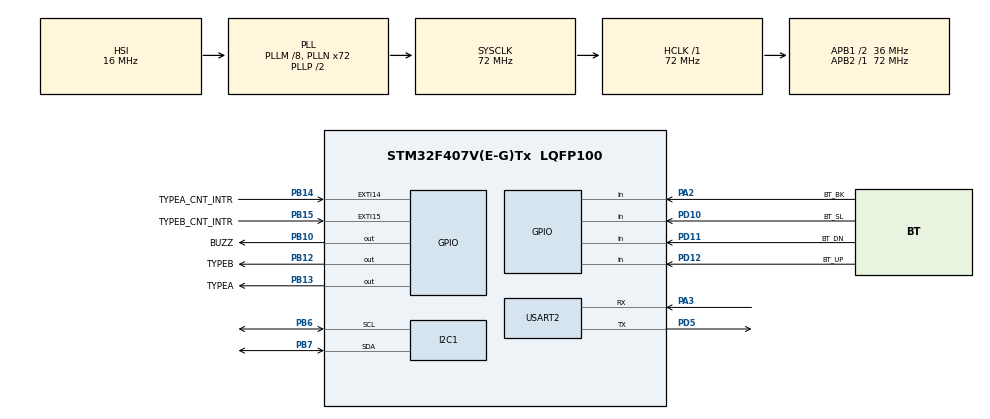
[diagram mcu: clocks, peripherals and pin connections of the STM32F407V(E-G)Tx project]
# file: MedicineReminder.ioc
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Mcu.Family=STM32F4
Mcu.Name=STM32F407V(E-G)Tx
Mcu.Package=LQFP100
NVIC.EXTI15_10_IRQn=true\:0\:0\:false\:false\:true\:true\:true\:true
NVIC.PriorityGroup=NVIC_PRIORITYGROUP_4
NVIC.USART2_IRQn=true\:0\:0\:false\:false\:true\:true\:true\:true
PA13.Mode=Serial_Wire
PA13.Signal=SYS_JTMS-SWDIO
PA14.Mode=Serial_Wire
PA14.Signal=SYS_JTCK-SWCLK
PA2.GPIO_Label=BT_BK
PA2.Signal=GPIO_Input
PA3.Mode=Asynchronous
PA3.Signal=USART2_RX
PB10.GPIO_Label=BUZZ
PB10.Signal=GPIO_Output
PB12.GPIO_Label=TYPEB
PB12.Signal=GPIO_Output
PB13.GPIO_Label=TYPEA
PB13.Signal=GPIO_Output
PB14.GPIO_Label=TYPEA_CNT_INTR
PB14.GPIO_ModeDefaultEXTI=GPIO_MODE_IT_FALLING
PB14.Signal=GPXTI14
PB15.GPIO_Label=TYPEB_CNT_INTR
PB15.GPIO_ModeDefaultEXTI=GPIO_MODE_IT_FALLING
PB15.Signal=GPXTI15
PB6.Mode=I2C
PB6.Signal=I2C1_SCL
PB7.Mode=I2C
PB7.Signal=I2C1_SDA
PD10.GPIO_Label=BT_SL
PD10.GPIO_PuPd=GPIO_PULLUP
PD10.Signal=GPIO_Input
PD11.GPIO_Label=BT_DN
PD11.GPIO_PuPd=GPIO_PULLUP
PD11.Signal=GPIO_Input
PD12.GPIO_Label=BT_UP
PD12.GPIO_PuPd=GPIO_PULLUP
PD12.Signal=GPIO_Input
PD5.Mode=Asynchronous
PD5.Signal=USART2_TX
ProjectManager.HeapSize=0x200
ProjectManager.StackSize=0x400
ProjectManager.TargetToolchain=STM32CubeIDE
RCC.48MHZClocksFreq_Value=36000000
RCC.AHBFreq_Value=72000000
RCC.APB1CLKDivider=RCC_HCLK_DIV2
RCC.APB1Freq_Value=36000000
RCC.APB1TimFreq_Value=72000000
RCC.APB2Freq_Value=72000000
RCC.APB2TimFreq_Value=72000000
RCC.CortexFreq_Value=72000000
RCC.HCLKFreq_Value=72000000
RCC.HSE_VALUE=8000000
RCC.HSI_VALUE=16000000
RCC.LSE_VALUE=32768
RCC.PLLM=8
RCC.PLLN=72
RCC.SYSCLKFreq_VALUE=72000000
RCC.SYSCLKSource=RCC_SYSCLKSOURCE_PLLCLK
RCC.VCOOutputFreq_Value=144000000
USART2.VirtualMode=VM_ASYNC
board=custom

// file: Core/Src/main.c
/* USER CODE BEGIN Header */
/**
  ******************************************************************************
  * @file           : main.c
  * @brief          : 主程序入口（基于 v48 完善版本）
  ******************************************************************************
  * @attention
  *
  * 版权所有 (c) 2024 STMicroelectronics。
  * 保留所有权利。
  *
  * 本软件根据 LICENSE 文件中的许可条款分发，
  * 若无 LICENSE 文件，则按“原样”提供。
  *
  ******************************************************************************
  */
/* USER CODE END Header */
#include "main.h"

/* USER CODE BEGIN Includes */
#include "dfplayer.h"
#include "bluetooth.h"
/* USER CODE END Includes */

/* USER CODE BEGIN PTD */
/* 无 */
/* USER CODE END PTD */

/* USER CODE BEGIN PD */
/* 用户私有定义，可在此添加所需的宏或常量 */
#define TIME_UNIT 100
#define SENSOR_TIMEOUT 1000      // 添加SENSOR_TIMEOUT定义，根据实际需要设置值
#define SENSOR_TIMEOUT_DISP 1000  // 根据实际需要定义的值
#define COMMAND_BUFFER_SIZE 256   // 修改1: 定义 COMMAND_BUFFER_SIZE 为256
/* USER CODE END PD */

/* USER CODE BEGIN PM */
/* 用户私有宏定义 */
/* USER CODE END PM */

I2C_HandleTypeDef hi2c1;

UART_HandleTypeDef huart2;

/* USER CODE BEGIN PV */
/* 用户私有变量 */
/* 外部变量引用 */
extern uint8_t cur_screen, need_update_menu;
extern uint8_t is_next_day;
extern int upcoming_schedule_pos;
extern SCHEDULE schedule_list[10];
extern uint8_t content[10][21];
extern RTC_Time c_time;
extern int upcoming_time;
/* 内部计数及状态变量 */
int time_update_cnt = 0;
int medicine_notify = 0, medicine_notify_cnt = 0;
int type_a_cnt = 0, type_b_cnt = 0;
unsigned long last_interrupt_cnt_a = 0, last_interrupt_cnt_b = 0;
int sensor_tmout = 0, sensor_tmout_cnt = 0, sensor_tmout_cnt2 = 0;
int upcoming_delay = 0;
uint8_t rx_data[2];
uint8_t command_buffer[COMMAND_BUFFER_SIZE], command_buffer_cnt = 0; // 修改2: 初始化 command_buffer_cnt 为 0
/* USER CODE END PV */

void SystemClock_Config(void);
static void MX_GPIO_Init(void);
static void MX_I2C1_Init(void);
static void MX_USART2_UART_Init(void);
/* USER CODE BEGIN PFP */
/* 私有函数原型声明 */
void time_update(void);
void stepper_control(void);
void process_command(void);
void HAL_GPIO_EXTI_Callback(uint16_t GPIO_Pin);
void HAL_UART_RxCpltCallback(UART_HandleTypeDef *huart);
/* USER CODE END PFP */

/* USER CODE BEGIN 0 */
/* 此处可以添加其他全局初始化代码 */
/* USER CODE END 0 */

int main(void)
{
  /* USER CODE BEGIN 1 */
  /* 用户初始化代码 */
  /* USER CODE END 1 */

  /* MCU Configuration--------------------------------------------------------*/

  /* Reset of all peripherals, Initializes the Flash interface and the Systick. */
  HAL_Init();

  /* USER CODE BEGIN Init */
  /* 用户初始化代码 */
  /* USER CODE END Init */

  /* Configure the system clock */
  SystemClock_Config();

  /* USER CODE BEGIN SysInit */
  /* 用户系统级初始化 */
  /* USER CODE END SysInit */

  /* Initialize all configured peripherals */
  MX_GPIO_Init();
  MX_I2C1_Init();
  MX_USART2_UART_Init();
  /* USER CODE BEGIN 2 */

  /* 初始化重要IO口状态 */
  HAL_GPIO_WritePin(TYPEA_GPIO_Port, TYPEA_Pin, GPIO_PIN_RESET);
  HAL_GPIO_WritePin(TYPEB_GPIO_Port, TYPEB_Pin, GPIO_PIN_RESET);
  HAL_Delay(500);     // I2C初始化延时

  /* 初始化 DS3231 实时时钟 */
  DS3231_Init(&hi2c1);
#if !RTC_EMUL
  // 若RTC年份不正确则进行更新
  if (DS3231_GetYear() != 24) {
      DS3231_SetYear(24);
  }
#endif

  /* 初始化 LCD 显示模块 */
  lcd_init();
  lcd_clear_display();
  lcd_gotoxy(1, 1);
  lcd_send_string("Initialize...");

  /* 装载计划列表 */
  load_schedule();
  upcoming_time = 999999;

  /* 设置并刷新菜单显示 */
  menu_set_content();
  menu_update();

  /* 启动 UART 中断接收 */
  HAL_UART_Receive_IT(&huart2, rx_data, 1);

  HAL_Delay(1000);

  /* 初始化 DFPlayer 语音模块 */
  DFPlayer_Init();

  /* 初始化蓝牙模块 */
  Bluetooth_Init();

  /* USER CODE END 2 */

  /* Infinite loop */
  /* USER CODE BEGIN WHILE */
  while (1)
  {
      /* 按键检测及刷新菜单 */
      check_button();
      menu_update();
      /* 更新时间显示及调度 */
      time_update();
      /* 控制步进电机进行提醒操作 */
      stepper_control();

      /* 延时，单位为TIME_UNIT */
      HAL_Delay(TIME_UNIT);
  }
    /* USER CODE END WHILE */

}

void SystemClock_Config(void)
{
  RCC_OscInitTypeDef RCC_OscInitStruct = {0};
  RCC_ClkInitTypeDef RCC_ClkInitStruct = {0};

  /** Configure the main internal regulator output voltage
  */
  __HAL_RCC_PWR_CLK_ENABLE();
  __HAL_PWR_VOLTAGESCALING_CONFIG(PWR_REGULATOR_VOLTAGE_SCALE1);

  /** Initializes the RCC Oscillators according to the specified parameters
  * in the RCC_OscInitTypeDef structure.
  */
  RCC_OscInitStruct.OscillatorType = RCC_OSCILLATORTYPE_HSI;
  RCC_OscInitStruct.HSIState = RCC_HSI_ON;
  RCC_OscInitStruct.HSICalibrationValue = RCC_HSICALIBRATION_DEFAULT;
  RCC_OscInitStruct.PLL.PLLState = RCC_PLL_ON;
  RCC_OscInitStruct.PLL.PLLSource = RCC_PLLSOURCE_HSI;
  RCC_OscInitStruct.PLL.PLLM = 8;
  RCC_OscInitStruct.PLL.PLLN = 72;
  RCC_OscInitStruct.PLL.PLLP = RCC_PLLP_DIV2;
  RCC_OscInitStruct.PLL.PLLQ = 4;
  if (HAL_RCC_OscConfig(&RCC_OscInitStruct) != HAL_OK)
  {
    Error_Handler();
  }

  /** Initializes the CPU, AHB and APB buses clocks
  */
  RCC_ClkInitStruct.ClockType = RCC_CLOCKTYPE_HCLK|RCC_CLOCKTYPE_SYSCLK
                              |RCC_CLOCKTYPE_PCLK1|RCC_CLOCKTYPE_PCLK2;
  RCC_ClkInitStruct.SYSCLKSource = RCC_SYSCLKSOURCE_PLLCLK;
  RCC_ClkInitStruct.AHBCLKDivider = RCC_SYSCLK_DIV1;
  RCC_ClkInitStruct.APB1CLKDivider = RCC_HCLK_DIV2;
  RCC_ClkInitStruct.APB2CLKDivider = RCC_HCLK_DIV1;

  if (HAL_RCC_ClockConfig(&RCC_ClkInitStruct, FLASH_LATENCY_2) != HAL_OK)
  {
    Error_Handler();
  }
}

static void MX_I2C1_Init(void)
{

  /* USER CODE BEGIN I2C1_Init 0 */
  /* 用户代码 I2C1 初始化前置代码 */
  /* USER CODE END I2C1_Init 0 */

  /* USER CODE BEGIN I2C1_Init 1 */
  /* 用户代码 I2C1 初始化预处理 */
  /* USER CODE END I2C1_Init 1 */
  hi2c1.Instance = I2C1;
  hi2c1.Init.ClockSpeed = 100000;
  hi2c1.Init.DutyCycle = I2C_DUTYCYCLE_2;
  hi2c1.Init.OwnAddress1 = 0;
  hi2c1.Init.AddressingMode = I2C_ADDRESSINGMODE_7BIT;
  hi2c1.Init.DualAddressMode = I2C_DUALADDRESS_DISABLE;
  hi2c1.Init.OwnAddress2 = 0;
  hi2c1.Init.GeneralCallMode = I2C_GENERALCALL_DISABLE;
  hi2c1.Init.NoStretchMode = I2C_NOSTRETCH_DISABLE;
  if (HAL_I2C_Init(&hi2c1) != HAL_OK)
  {
    Error_Handler();
  }
  /* USER CODE BEGIN I2C1_Init 2 */
  /* 用户代码 I2C1 初始化后处理 */
  /* USER CODE END I2C1_Init 2 */

}

static void MX_USART2_UART_Init(void)
{

  /* USER CODE BEGIN USART2_Init 0 */
  /* 用户代码 USART2 初始化前置 */
  /* USER CODE END USART2_Init 0 */

  /* USER CODE BEGIN USART2_Init 1 */
  /* 用户代码 USART2 初始化预处理 */
  /* USER CODE END USART2_Init 1 */
  huart2.Instance = USART2;
  huart2.Init.BaudRate = 115200;
  huart2.Init.WordLength = UART_WORDLENGTH_8B;
  huart2.Init.StopBits = UART_STOPBITS_1;
  huart2.Init.Parity = UART_PARITY_NONE;
  huart2.Init.Mode = UART_MODE_TX_RX;
  huart2.Init.HwFlowCtl = UART_HWCONTROL_NONE;
  huart2.Init.OverSampling = UART_OVERSAMPLING_16;
  if (HAL_UART_Init(&huart2) != HAL_OK)
  {
    Error_Handler();
  }
  /* USER CODE BEGIN USART2_Init 2 */
  /* 用户代码 USART2 初始化后处理 */
  /* USER CODE END USART2_Init 2 */

}

static void MX_GPIO_Init(void)
{
  GPIO_InitTypeDef GPIO_InitStruct = {0};
/* USER CODE BEGIN MX_GPIO_Init_1 */
  /* 用户代码 GPIO 初始化前置 */
/* USER CODE END MX_GPIO_Init_1 */

  /* GPIO Ports Clock Enable */
  __HAL_RCC_GPIOA_CLK_ENABLE();
  __HAL_RCC_GPIOB_CLK_ENABLE();
  __HAL_RCC_GPIOD_CLK_ENABLE();

  /*Configure GPIO pin Output Level */
  HAL_GPIO_WritePin(GPIOB, BUZZ_Pin|TYPEB_Pin|TYPEA_Pin, GPIO_PIN_RESET);

  /*Configure GPIO pin : BT_BK_Pin */
  GPIO_InitStruct.Pin = BT_BK_Pin;
  GPIO_InitStruct.Mode = GPIO_MODE_INPUT;
  GPIO_InitStruct.Pull = GPIO_NOPULL;
  HAL_GPIO_Init(BT_BK_GPIO_Port, &GPIO_InitStruct);

  /*Configure GPIO pins : BUZZ_Pin TYPEB_Pin TYPEA_Pin */
  GPIO_InitStruct.Pin = BUZZ_Pin|TYPEB_Pin|TYPEA_Pin;
  GPIO_InitStruct.Mode = GPIO_MODE_OUTPUT_PP;
  GPIO_InitStruct.Pull = GPIO_NOPULL;
  GPIO_InitStruct.Speed = GPIO_SPEED_FREQ_LOW;
  HAL_GPIO_Init(GPIOB, &GPIO_InitStruct);

  /*Configure GPIO pins : TYPEA_CNT_INTR_Pin TYPEB_CNT_INTR_Pin */
  GPIO_InitStruct.Pin = TYPEA_CNT_INTR_Pin|TYPEB_CNT_INTR_Pin;
  GPIO_InitStruct.Mode = GPIO_MODE_IT_FALLING;
  GPIO_InitStruct.Pull = GPIO_NOPULL;
  HAL_GPIO_Init(GPIOB, &GPIO_InitStruct);

  /*Configure GPIO pins : BT_SL_Pin BT_DN_Pin BT_UP_Pin */
  GPIO_InitStruct.Pin = BT_SL_Pin|BT_DN_Pin|BT_UP_Pin;
  GPIO_InitStruct.Mode = GPIO_MODE_INPUT;
  GPIO_InitStruct.Pull = GPIO_PULLUP;
  HAL_GPIO_Init(GPIOD, &GPIO_InitStruct);

  /* EXTI interrupt init*/
  HAL_NVIC_SetPriority(EXTI15_10_IRQn, 0, 0);
  HAL_NVIC_EnableIRQ(EXTI15_10_IRQn);

/* USER CODE BEGIN MX_GPIO_Init_2 */
  /* 用户代码 GPIO 初始化后处理 */
/* USER CODE END MX_GPIO_Init_2 */
}

/* USER CODE BEGIN 4 */

/**
  * @brief  更新时间函数，1秒更新一次
  */
void time_update(void)
{
    time_update_cnt++;
    HAL_GPIO_WritePin(BUZZ_GPIO_Port, BUZZ_Pin, (medicine_notify ? GPIO_PIN_SET : GPIO_PIN_RESET));
    if (time_update_cnt == 1000 / TIME_UNIT)   // 1秒标识
    {
        time_update_cnt = 0;
#if RTC_EMUL
        c_time.seconds++;
        if(c_time.seconds == 60) {
            c_time.seconds = 0;
            c_time.minutes++;
            if(c_time.minutes == 60) {
                c_time.minutes = 0;
                c_time.hours++;
                if(c_time.hours == 24) {
                    c_time.hours = 0;
                }
            }
        }
#else
        DS3231_GetFullDateTime(&c_time);
#endif
        /* 处理传感器超时计数 */
        if(sensor_tmout_cnt != 0)
        {
            sensor_tmout_cnt--;
            if(sensor_tmout_cnt == 0)
            {
                if(sensor_tmout != 0)
                {
                    sensor_tmout_cnt2 = SENSOR_TIMEOUT_DISP;
                    medicine_notify = 0;
                    medicine_notify_cnt = 0;
                    /* 修改4: 确保 type_a_cnt 与 type_b_cnt 已在变量声明时初始化 */
                    type_a_cnt = 0;
                    type_b_cnt = 0;
                    HAL_GPIO_WritePin(TYPEA_GPIO_Port, TYPEA_Pin, GPIO_PIN_RESET);
                    HAL_GPIO_WritePin(TYPEB_GPIO_Port, TYPEB_Pin, GPIO_PIN_RESET);
                }
            }
        }
        if(sensor_tmout_cnt2 != 0)
        {
            sensor_tmout_cnt2--;  // 修改5: sensor_tmout_cnt2 已初始化，无需特殊处理
        }
        /* 处理提醒计数 */
        if(medicine_notify_cnt != 0)
        {
            medicine_notify_cnt--;
            if(medicine_notify_cnt == 0)
            {
                medicine_notify = 0;
            }
        }
        /* 更新即将触发的计划延时 */
        if(upcoming_delay != 0)
        {
            upcoming_delay--;
            if(upcoming_delay == 0)
            {
                update_upcoming_to_esp(current_schedule);
            }
        }
        /* 判断是否该触发语音提醒 */
        if (medicine_notify == 0)
        {
            if (c_time.hours == upcoming_time / 60 && c_time.minutes == upcoming_time % 60)
            {
                medicine_notify = 1;
                type_a_cnt = schedule_list[upcoming_schedule_pos].type_a;
                type_b_cnt = schedule_list[upcoming_schedule_pos].type_b;
                /* 置位传感器超时标识：bit0 - 类型A, bit1 - 类型B */
                sensor_tmout = 0x03;
                sensor_tmout_cnt = SENSOR_TIMEOUT;
                sensor_tmout_cnt2 = 0;

                /* 更新当前计划，并从计划列表中移除该计划 */
                current_schedule = schedule_list[upcoming_schedule_pos];
                upcoming_delay = 3;
                schedule_remove(upcoming_schedule_pos);
                upcoming_time = 999999;
                upcoming_schedule_pos = -1;
                store_schedule();
                update_schedulelist_to_esp();

                /* 修改6: 调用 DFPlayer 播放语音文件函数，应确保该函数已正确定义 */
                DFPlayer_Play(1);
            }
        }
        /* 若已错过触发时间，查找下一个计划 */
        if ((convert_to_minute(c_time.hours, c_time.minutes) - upcoming_time >= 1 && is_next_day == 0)
                || (upcoming_time == 999999))
        {
            find_upcoming_schedule();
        }
        /* 刷新菜单内容 */
        menu_set_content();
    }
}

/**
  * @brief  控制步进电机进行语音提示效果
  */
void stepper_control(void)
{
    if(type_a_cnt > 0)
    {
        HAL_GPIO_TogglePin(TYPEA_GPIO_Port, TYPEA_Pin);
    }
    if(type_b_cnt > 0)
    {
        HAL_GPIO_TogglePin(TYPEB_GPIO_Port, TYPEB_Pin);
    }
}

/**
  * @brief  外部中断回调函数
  * @param  GPIO_Pin：中断触发的引脚编号
  */
void HAL_GPIO_EXTI_Callback(uint16_t GPIO_Pin)
{
    unsigned long interrupt_time = HAL_GetTick();

    if(GPIO_Pin == GPIO_PIN_14)   // 类型A外部中断
    {
        if((interrupt_time - last_interrupt_cnt_a > 200) && (type_a_cnt > 0))
        {
            type_a_cnt--;
            sensor_tmout &= ~0x01;  // 清除类型A超时标志
            if(type_a_cnt == 0)
            {
                HAL_GPIO_WritePin(TYPEA_GPIO_Port, TYPEA_Pin, GPIO_PIN_RESET);
                if(type_b_cnt == 0)
                {
                    medicine_notify_cnt = 120;  // 2分钟计数
                }
            }
        }
        last_interrupt_cnt_a = interrupt_time;
    }
    else if(GPIO_Pin == GPIO_PIN_15)  // 类型B外部中断
    {
        if((interrupt_time - last_interrupt_cnt_b > 200) && (type_b_cnt > 0))
        {
            type_b_cnt--;
            sensor_tmout &= ~0x02;  // 清除类型B超时标志
            if(type_b_cnt == 0)
            {
                HAL_GPIO_WritePin(TYPEB_GPIO_Port, TYPEB_Pin, GPIO_PIN_RESET);
                if(type_a_cnt == 0)
                {
                    medicine_notify_cnt = 120;  // 2分钟计数
                }
            }
        }
        last_interrupt_cnt_b = interrupt_time;
    }
}

/**
  * @brief  UART 接收中断回调函数
  * @param  huart：接收中断的 UART 句柄
  */
void HAL_UART_RxCpltCallback(UART_HandleTypeDef *huart)
{
    if(huart->Instance == USART2)
    {
        // 接收到的数据存入命令缓冲区
        command_buffer[command_buffer_cnt] = rx_data[0];
        command_buffer_cnt++;
        if(command_buffer_cnt >= COMMAND_BUFFER_SIZE)
        {
            command_buffer_cnt = 0;
        }
        /* 处理接收到的指令 */
        process_command();
        /* 重新启动 UART 接收中断 */
        HAL_UART_Receive_IT(&huart2, rx_data, 1);
    }
}

/**
  * @brief  处理命令数据，根据特定的命令执行操作（设置RTC、更新计划、WiFi连接反馈）
  */
void process_command(void)
{
    if(command_buffer_cnt >= 4 &&
       command_buffer[command_buffer_cnt - 2] == 0x84 &&
       command_buffer[command_buffer_cnt - 1] == 0xF1)
    {
        /* 查找命令起始位（标识符 0x84 0xF0） */
        int start_pos;
        for(start_pos = 0; start_pos < command_buffer_cnt - 2; start_pos++)
        {
            if(command_buffer[start_pos] == 0x84 && command_buffer[start_pos + 1] == 0xF0)
            {
                break;
            }
        }
        uint8_t* buff = command_buffer + start_pos;
        if(buff[2] == 0x81)  // 设置 RTC 时间命令
        {
#if RTC_EMUL
            c_time.hours = buff[3];
            c_time.minutes = buff[4];
            c_time.seconds = buff[5];
            c_time.day = buff[6];
            c_time.month = buff[7];
            c_time.year = buff[8];
#else
            DS3231_SetFullTime(buff[3], buff[4], buff[5]);
            DS3231_SetDate(buff[6]);
            DS3231_SetMonth(buff[7]);
            DS3231_SetYear(buff[8]);
#endif
        }
        else if(buff[2] == 0x82)  // 设置计划列表命令
        {
            schedule_size = buff[3];
            for(int i = 0; i < schedule_size; i++)
            {
                schedule_list[i].hour = buff[3 * i + 4];
                schedule_list[i].minute = buff[3 * i + 5];
                /* 下发的数据中，高4位为 type_b，低4位为 type_a */
                schedule_list[i].type_a = buff[3 * i + 6] & 0x0F;
                schedule_list[i].type_b = (buff[3 * i + 6] >> 4) & 0x0F;
            }
            store_schedule();
            find_upcoming_schedule();
        }
        else if(buff[2] == 0x83 && buff[3] == 0x80)  // WiFi连接成功反馈命令
        {
            wifi_connect = 1;
            menu_set_content();
        }
        /* 重置命令缓冲区计数 */
        command_buffer_cnt = 0;
    }
}

/* USER CODE END 4 */

void Error_Handler(void)
{
  __disable_irq();
  while (1)
  {
  }
}
